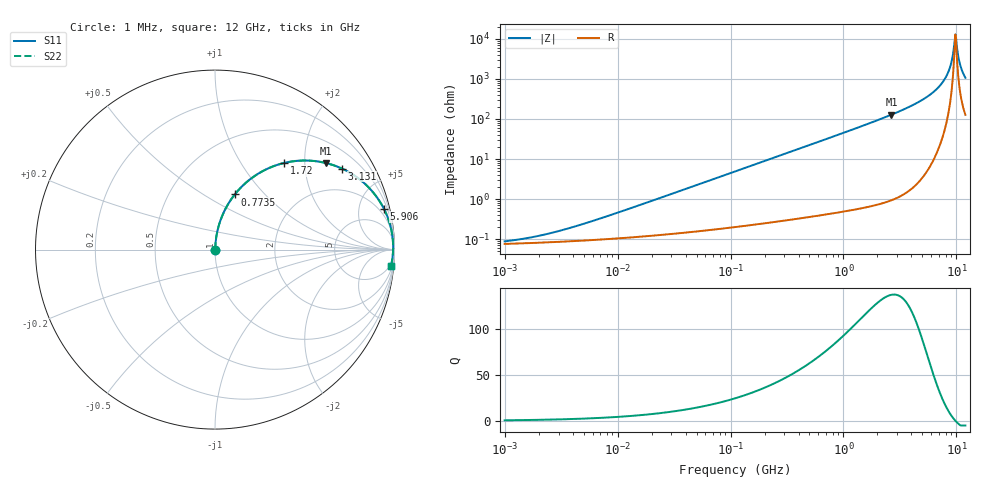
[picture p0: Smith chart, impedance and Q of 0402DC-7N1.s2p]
# MHz  S  MA  R  50
!Freq  MagS11  AngS11  MagS21  AngS21  MagS12  AngS12  MagS22  AngS22
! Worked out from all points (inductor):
!   801 points, 1 MHz to 12 GHz, reference 50 ohm
!   read as one part in series: L = 7.1 nH near 6.554 MHz
!   highest Q = 137 at 2.656 GHz (marker M1), where L = 7.66 nH
!   self-resonance near 9.789 GHz
!   S11 on the Smith chart (normalised r, x): 1 MHz: 1.00, +0.00; 773.5 MHz: 1.01, +0.69; 1.72 GHz: 1.01, +1.58; 3.131 GHz: 1.02, +3.11; 5.906 GHz: 1.14, +8.27; 12 GHz: 4, -21
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1  0.0008814 30.4  0.9992 -0.0  0.9992 -0.0  0.0008814 30.4
2.096551  0.001243 48.7  0.9992 -0.1  0.9992 -0.1  0.001243 48.7
4.828773  0.002339 66.8  0.9991 -0.1  0.9991 -0.1  0.002339 66.8
23.04466  0.01034 82.4  0.9987 -0.6  0.9987 -0.6  0.01034 82.4
109.9775  0.04895 84.9  0.9968 -2.8  0.9968 -2.8  0.04895 84.9
524.8526  0.2278 75.9  0.9702 -13.2  0.9702 -13.2  0.2278 75.9
773.4726  0.3268 70.2  0.941 -19.1  0.941 -19.1  0.3268 70.2
1719.755  0.6182 51.3  0.7809 -38.2  0.7809 -38.2  0.6182 51.3
2534.394  0.7685 39.4  0.6342 -50.2  0.6342 -50.2  0.7685 39.4
2656.361  0.785 37.9  0.6138 -51.7  0.6138 -51.7  0.785 37.9
3131.359  0.8384 32.6  0.5389 -57.0  0.5389 -57.0  0.8384 32.6
4454.824  0.9257 21.7  0.3695 -67.8  0.3695 -67.8  0.9257 21.7
5906.209  0.9683 13.5  0.234 -75.5  0.234 -75.5  0.9683 13.5
7127.89  0.9845 8.4  0.1459 -79.7  0.1459 -79.7  0.9845 8.4
8111.419  0.9906 4.9  0.08645 -81.3  0.08645 -81.3  0.9906 4.9
8806.831  0.9923 2.8  0.04912 -79.6  0.04912 -79.6  0.9923 2.8
9450.161  0.9926 1.0  0.01814 -65.5  0.01814 -65.5  0.9926 1.0
9789.24  0.9923 0.0  0.007718 -4.7  0.007718 -4.7  0.9923 0.0
10140.49  0.9917 -0.9  0.01737 61.1  0.01737 61.1  0.9917 -0.9
10628.5  0.9905 -2.1  0.03767 74.3  0.03767 74.3  0.9905 -2.1
11009.85  0.9892 -3.0  0.05341 76.8  0.05341 76.8  0.9892 -3.0
12000  0.9848 -5.3  0.09222 77.9  0.09222 77.9  0.9848 -5.3
